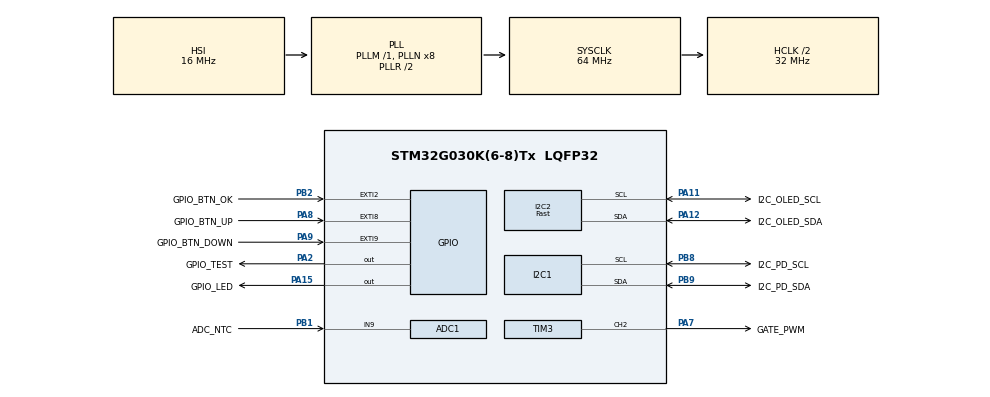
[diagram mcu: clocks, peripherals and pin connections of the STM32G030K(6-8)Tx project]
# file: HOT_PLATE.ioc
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ADC1.Channel-2\#ChannelRegularConversion=ADC_CHANNEL_9
ADC1.ContinuousConvMode=DISABLE
ADC1.DMAContinuousRequests=DISABLE
ADC1.ExternalTrigConv=ADC_EXTERNALTRIG_T1_TRGO2
ADC1.NbrOfConversion=1
ADC1.NbrOfConversionFlag=1
ADC1.Rank-2\#ChannelRegularConversion=1
ADC1.SamplingTime-2\#ChannelRegularConversion=ADC_SAMPLINGTIME_COMMON_1
ADC1.SamplingTimeCommon1=ADC_SAMPLETIME_1CYCLE_5
ADC1.SelectedChannel=ADC_CHANNEL_9
ADC1.TriggerFrequencyMode=ADC_TRIGGER_FREQ_HIGH
ADC1.master=1
I2C1.OwnAddress=0x08
I2C1.Speed=100
I2C1.Timing=0x00707CBB
I2C2.I2C_Speed_Mode=I2C_Fast
I2C2.Timing=0x00300F38
Mcu.Family=STM32G0
Mcu.Name=STM32G030K(6-8)Tx
Mcu.Package=LQFP32
NVIC.ADC1_IRQn=true\:0\:0\:false\:false\:true\:true\:true\:true
NVIC.EXTI2_3_IRQn=true\:0\:0\:false\:false\:true\:true\:true\:true
NVIC.EXTI4_15_IRQn=true\:0\:0\:false\:false\:true\:true\:true\:true
NVIC.TIM17_IRQn=true\:3\:0\:false\:false\:true\:false\:true\:true
NVIC.TimeBase=TIM17_IRQn
NVIC.TimeBaseIP=TIM17
PA11\ [PA9].GPIO_Label=I2C_OLED_SCL
PA11\ [PA9].Mode=I2C
PA11\ [PA9].Signal=I2C2_SCL
PA12\ [PA10].GPIO_Label=I2C_OLED_SDA
PA12\ [PA10].Mode=I2C
PA12\ [PA10].Signal=I2C2_SDA
PA13.Mode=Serial_Wire
PA13.Signal=SYS_SWDIO
PA14-BOOT0.Mode=Serial_Wire
PA14-BOOT0.Signal=SYS_SWCLK
PA15.GPIO_Label=GPIO_LED
PA15.Signal=GPIO_Output
PA2.GPIO_Label=GPIO_TEST
PA2.GPIO_Speed=GPIO_SPEED_FREQ_VERY_HIGH
PA2.Signal=GPIO_Output
PA7.GPIO_Label=GATE_PWM
PA7.Signal=S_TIM3_CH2
PA8.GPIO_Label=GPIO_BTN_UP
PA8.GPIO_ModeDefaultEXTI=GPIO_MODE_IT_FALLING
PA8.Signal=GPXTI8
PA9.GPIO_Label=GPIO_BTN_DOWN
PA9.GPIO_ModeDefaultEXTI=GPIO_MODE_IT_FALLING
PA9.Signal=GPXTI9
PB1.GPIO_Label=ADC_NTC
PB1.Mode=IN9
PB1.Signal=ADC1_IN9
PB2.GPIO_Label=GPIO_BTN_OK
PB2.GPIO_ModeDefaultEXTI=GPIO_MODE_IT_FALLING
PB2.Signal=GPXTI2
PB8.GPIO_Label=I2C_PD_SCL
PB8.GPIO_Pu=GPIO_NOPULL
PB8.GPIO_Speed=GPIO_SPEED_FREQ_LOW
PB8.Mode=I2C
PB8.Signal=I2C1_SCL
PB9.GPIO_Label=I2C_PD_SDA
PB9.GPIO_Pu=GPIO_NOPULL
PB9.GPIO_Speed=GPIO_SPEED_FREQ_LOW
PB9.Mode=I2C
PB9.Signal=I2C1_SDA
ProjectManager.HeapSize=0x200
ProjectManager.StackSize=0x400
ProjectManager.TargetToolchain=STM32CubeIDE
RCC.ADCFreq_Value=64000000
RCC.AHBCLKDivider=RCC_SYSCLK_DIV2
RCC.AHBFreq_Value=32000000
RCC.CortexFreq_Value=32000000
RCC.EXTERNAL_CLOCK_VALUE=12288000
RCC.HCLKFreq_Value=32000000
RCC.HSE_VALUE=8000000
RCC.HSI_VALUE=16000000
RCC.LSE_VALUE=32768
RCC.SYSCLKFreq_VALUE=64000000
RCC.SYSCLKSource=RCC_SYSCLKSOURCE_PLLCLK
RCC.VCOOutputFreq_Value=128000000
SH.S_TIM3_CH2.0=TIM3_CH2,PWM Generation2 CH2
TIM1.Channel-PWM\ Generation2\ No\ Output=TIM_CHANNEL_2
TIM1.Period=1000-1
TIM1.Prescaler=32
TIM1.TIM_MasterOutputTrigger=TIM_TRGO_RESET
TIM1.TIM_MasterOutputTrigger2=TIM_TRGO2_UPDATE
TIM3.Channel-PWM\ Generation2\ CH2=TIM_CHANNEL_2
TIM3.Period=1600-1
TIM3.Prescaler=0
VP_SYS_VS_tim17.Mode=TIM17
VP_TIM1_VS_no_output2.Mode=PWM Generation2 No Output
VP_TIM3_VS_ClockSourceINT.Mode=Internal
board=custom

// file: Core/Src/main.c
/* USER CODE BEGIN Header */
/**
  ******************************************************************************
  * @file           : main.c
  * @brief          : Main program body
  ******************************************************************************
  * @attention
  *
  * Copyright (c) 2024 STMicroelectronics.
  * All rights reserved.
  *
  * This software is licensed under terms that can be found in the LICENSE file
  * in the root directory of this software component.
  * If no LICENSE file comes with this software, it is provided AS-IS.
  *
  ******************************************************************************
  */
/* USER CODE END Header */
#include "main.h"

/* USER CODE BEGIN Includes */
#include "stdio.h"
#include "ssd1306.h"
#include "ssd1306_fonts.h"
#include "FIRFilter.h"
#include "PI.h"
/* USER CODE END Includes */

/* USER CODE BEGIN PTD */
// Enumeration for screen colors
typedef enum {
    BTN_OK,
    BTN_UP,
	BTN_DOWN,
	BTN_NONE
} BTN_STATUS;
/* USER CODE END PTD */

ADC_HandleTypeDef hadc1;

I2C_HandleTypeDef hi2c1;
I2C_HandleTypeDef hi2c2;

TIM_HandleTypeDef htim1;
TIM_HandleTypeDef htim3;

/* USER CODE BEGIN PV */
const int16_t I2C_PD_ADDRESS = (0x08 << 1);
const int16_t I2C_PD_REG_VBUS = 0x0D10;

FIRFilter fir;
PIDREG3 PI_temp;
int16_t state = 0;
BTN_STATUS btn = BTN_NONE;
int16_t voltage;
uint8_t tempVoltage[2];
int16_t duty;
int16_t temp;
char string[9];
int16_t adc_buf[10];
int16_t ref_Temp = 50;
/* USER CODE END PV */

void SystemClock_Config(void);
static void MX_GPIO_Init(void);
static void MX_I2C1_Init(void);
static void MX_I2C2_Init(void);
static void MX_ADC1_Init(void);
static void MX_TIM3_Init(void);
static void MX_TIM1_Init(void);
/* USER CODE BEGIN PFP */
static void ssd1306_WriteScreen(char* str, FontDef Font);
void HAL_GPIO_EXTI_Falling_Callback(uint16_t GPIO_Pin);
void HAL_ADC_ConvCpltCallback(ADC_HandleTypeDef *hadc);
/* USER CODE END PFP */

int main(void)
{

  /* MCU Configuration--------------------------------------------------------*/

  /* Reset of all peripherals, Initializes the Flash interface and the Systick. */
  HAL_Init();

  /* Configure the system clock */
  SystemClock_Config();

  /* Initialize all configured peripherals */
  MX_GPIO_Init();
  MX_I2C1_Init();
  MX_I2C2_Init();
  MX_ADC1_Init();
  MX_TIM3_Init();
  MX_TIM1_Init();
  /* USER CODE BEGIN 2 */
  //INITS
  ssd1306_Init();
  FIRFilter_Init(&fir);
  PID_Init(&PI_temp);

  //ACD calibration and trigger
  while(HAL_ADCEx_Calibration_Start(&hadc1) != HAL_OK);
  HAL_ADC_Start_IT(&hadc1);
  HAL_TIM_PWM_Start(&htim1, TIM_CHANNEL_2);

  /* USER CODE END 2 */

  /* Infinite loop */
  /* USER CODE BEGIN WHILE */
  while (1)
  {
	  //GUI
	  switch(state){
	  case 0:
		  ssd1306_WriteScreen(" HEATER ", Font_11x18);
		  break;
	  case 1:
		  ssd1306_WriteScreen("START", Font_11x18);
		  HAL_TIM_PWM_Stop(&htim3, TIM_CHANNEL_2);
		  break;
	  case 11:
		  //Start PWM
		  TIM3->CCR2 = (TIM_CCR2_CCR2 & (duty - 1));
		  HAL_TIM_PWM_Start(&htim3, TIM_CHANNEL_2);
		  //Refresh Screen
		  sprintf(string, "%5d~C", temp);
		  ssd1306_WriteScreen(string, Font_11x18);

		  break;
	  case 2:
		  ssd1306_WriteScreen("CONFIG", Font_11x18);
		  break;
	  case 21:
		  sprintf(string, "%5d~C", ref_Temp);
		  ssd1306_WriteScreen(string, Font_11x18);
		  break;
	  case 3:
		  ssd1306_WriteScreen("VIEW", Font_11x18);
		  break;
	  case 31:
		  HAL_I2C_Mem_Read(&hi2c1, I2C_PD_ADDRESS, I2C_PD_REG_VBUS, 2, tempVoltage, 2, HAL_MAX_DELAY);
		  voltage = ((tempVoltage[1]<<8)+tempVoltage[0]) * (float)0.1;

		  sprintf(string, "%dV", voltage);
		  ssd1306_WriteScreen(string, Font_11x18);
		  break;
	  default:
		  break;
	  }

	  //NEXT STATE
	  if(btn != BTN_NONE){
		  switch (state){
		  case 0:
			  state = 1;
			  break;
		  case 1:
			  if(btn == BTN_OK){
				  state = 11;
			  } else if (btn == BTN_UP){
				  state = 2;
			  } else if (btn == BTN_DOWN){
				  state = 3;
			  } else {
				  state = 0;
			  }
			  break;
		  case 2:
			  if(btn == BTN_OK){
				  state = 21;
			  } else if (btn == BTN_UP){
				  state = 3;
			  } else if (btn == BTN_DOWN){
				  state = 1;
			  } else {
				  state = 0;
			  }
			  break;
		  case 21:
			  if(btn == BTN_OK){
				  state = 2;
			  } else if (btn == BTN_UP){
				  ref_Temp++;
			  } else if (btn == BTN_DOWN){
				  ref_Temp--;
			  } else {
				  state = 0;
			  }
			  break;
		  case 3:
			  if(btn == BTN_OK){
				  state = 31;
			  } else if (btn == BTN_UP){
				  state = 1;
			  } else if (btn == BTN_DOWN){
				  state = 2;
			  } else {
				  state = 0;
			  }
			  break;
		  case 31:
			  if(btn == BTN_OK){
				  state = 3;
			  } else if (btn == BTN_UP){
				  state = 3;
			  } else if (btn == BTN_DOWN){
				  state = 3;
			  } else {
				  state = 0;
			  }
			  break;
		  default:
			  state = 0;
			  break;
		  }

		  btn = BTN_NONE;
	  }

    /* USER CODE END WHILE */

  }
}

void SystemClock_Config(void)
{
  RCC_OscInitTypeDef RCC_OscInitStruct = {0};
  RCC_ClkInitTypeDef RCC_ClkInitStruct = {0};

  /** Configure the main internal regulator output voltage
  */
  HAL_PWREx_ControlVoltageScaling(PWR_REGULATOR_VOLTAGE_SCALE1);

  /** Initializes the RCC Oscillators according to the specified parameters
  * in the RCC_OscInitTypeDef structure.
  */
  RCC_OscInitStruct.OscillatorType = RCC_OSCILLATORTYPE_HSI;
  RCC_OscInitStruct.HSIState = RCC_HSI_ON;
  RCC_OscInitStruct.HSIDiv = RCC_HSI_DIV1;
  RCC_OscInitStruct.HSICalibrationValue = RCC_HSICALIBRATION_DEFAULT;
  RCC_OscInitStruct.PLL.PLLState = RCC_PLL_ON;
  RCC_OscInitStruct.PLL.PLLSource = RCC_PLLSOURCE_HSI;
  RCC_OscInitStruct.PLL.PLLM = RCC_PLLM_DIV1;
  RCC_OscInitStruct.PLL.PLLN = 8;
  RCC_OscInitStruct.PLL.PLLP = RCC_PLLP_DIV2;
  RCC_OscInitStruct.PLL.PLLR = RCC_PLLR_DIV2;
  if (HAL_RCC_OscConfig(&RCC_OscInitStruct) != HAL_OK)
  {
    Error_Handler();
  }

  /** Initializes the CPU, AHB and APB buses clocks
  */
  RCC_ClkInitStruct.ClockType = RCC_CLOCKTYPE_HCLK|RCC_CLOCKTYPE_SYSCLK
                              |RCC_CLOCKTYPE_PCLK1;
  RCC_ClkInitStruct.SYSCLKSource = RCC_SYSCLKSOURCE_PLLCLK;
  RCC_ClkInitStruct.AHBCLKDivider = RCC_SYSCLK_DIV2;
  RCC_ClkInitStruct.APB1CLKDivider = RCC_HCLK_DIV1;

  if (HAL_RCC_ClockConfig(&RCC_ClkInitStruct, FLASH_LATENCY_1) != HAL_OK)
  {
    Error_Handler();
  }
}

static void MX_ADC1_Init(void)
{

  ADC_ChannelConfTypeDef sConfig = {0};

  /** Configure the global features of the ADC (Clock, Resolution, Data Alignment and number of conversion)
  */
  hadc1.Instance = ADC1;
  hadc1.Init.ClockPrescaler = ADC_CLOCK_SYNC_PCLK_DIV2;
  hadc1.Init.Resolution = ADC_RESOLUTION_12B;
  hadc1.Init.DataAlign = ADC_DATAALIGN_RIGHT;
  hadc1.Init.ScanConvMode = ADC_SCAN_DISABLE;
  hadc1.Init.EOCSelection = ADC_EOC_SINGLE_CONV;
  hadc1.Init.LowPowerAutoWait = DISABLE;
  hadc1.Init.LowPowerAutoPowerOff = DISABLE;
  hadc1.Init.ContinuousConvMode = DISABLE;
  hadc1.Init.NbrOfConversion = 1;
  hadc1.Init.DiscontinuousConvMode = DISABLE;
  hadc1.Init.ExternalTrigConv = ADC_EXTERNALTRIG_T1_TRGO2;
  hadc1.Init.ExternalTrigConvEdge = ADC_EXTERNALTRIGCONVEDGE_RISING;
  hadc1.Init.DMAContinuousRequests = DISABLE;
  hadc1.Init.Overrun = ADC_OVR_DATA_PRESERVED;
  hadc1.Init.SamplingTimeCommon1 = ADC_SAMPLETIME_1CYCLE_5;
  hadc1.Init.SamplingTimeCommon2 = ADC_SAMPLETIME_1CYCLE_5;
  hadc1.Init.OversamplingMode = DISABLE;
  hadc1.Init.TriggerFrequencyMode = ADC_TRIGGER_FREQ_HIGH;
  if (HAL_ADC_Init(&hadc1) != HAL_OK)
  {
    Error_Handler();
  }

  /** Configure Regular Channel
  */
  sConfig.Channel = ADC_CHANNEL_9;
  sConfig.Rank = ADC_REGULAR_RANK_1;
  sConfig.SamplingTime = ADC_SAMPLINGTIME_COMMON_1;
  if (HAL_ADC_ConfigChannel(&hadc1, &sConfig) != HAL_OK)
  {
    Error_Handler();
  }

}

static void MX_I2C1_Init(void)
{

  hi2c1.Instance = I2C1;
  hi2c1.Init.Timing = 0x00707CBB;
  hi2c1.Init.OwnAddress1 = 16;
  hi2c1.Init.AddressingMode = I2C_ADDRESSINGMODE_7BIT;
  hi2c1.Init.DualAddressMode = I2C_DUALADDRESS_DISABLE;
  hi2c1.Init.OwnAddress2 = 0;
  hi2c1.Init.OwnAddress2Masks = I2C_OA2_NOMASK;
  hi2c1.Init.GeneralCallMode = I2C_GENERALCALL_DISABLE;
  hi2c1.Init.NoStretchMode = I2C_NOSTRETCH_DISABLE;
  if (HAL_I2C_Init(&hi2c1) != HAL_OK)
  {
    Error_Handler();
  }

  /** Configure Analogue filter
  */
  if (HAL_I2CEx_ConfigAnalogFilter(&hi2c1, I2C_ANALOGFILTER_ENABLE) != HAL_OK)
  {
    Error_Handler();
  }

  /** Configure Digital filter
  */
  if (HAL_I2CEx_ConfigDigitalFilter(&hi2c1, 0) != HAL_OK)
  {
    Error_Handler();
  }

}

static void MX_I2C2_Init(void)
{

  hi2c2.Instance = I2C2;
  hi2c2.Init.Timing = 0x00300F38;
  hi2c2.Init.OwnAddress1 = 0;
  hi2c2.Init.AddressingMode = I2C_ADDRESSINGMODE_7BIT;
  hi2c2.Init.DualAddressMode = I2C_DUALADDRESS_DISABLE;
  hi2c2.Init.OwnAddress2 = 0;
  hi2c2.Init.OwnAddress2Masks = I2C_OA2_NOMASK;
  hi2c2.Init.GeneralCallMode = I2C_GENERALCALL_DISABLE;
  hi2c2.Init.NoStretchMode = I2C_NOSTRETCH_DISABLE;
  if (HAL_I2C_Init(&hi2c2) != HAL_OK)
  {
    Error_Handler();
  }

  /** Configure Analogue filter
  */
  if (HAL_I2CEx_ConfigAnalogFilter(&hi2c2, I2C_ANALOGFILTER_ENABLE) != HAL_OK)
  {
    Error_Handler();
  }

  /** Configure Digital filter
  */
  if (HAL_I2CEx_ConfigDigitalFilter(&hi2c2, 0) != HAL_OK)
  {
    Error_Handler();
  }

}

static void MX_TIM1_Init(void)
{

  TIM_MasterConfigTypeDef sMasterConfig = {0};
  TIM_OC_InitTypeDef sConfigOC = {0};
  TIM_BreakDeadTimeConfigTypeDef sBreakDeadTimeConfig = {0};

  htim1.Instance = TIM1;
  htim1.Init.Prescaler = 32;
  htim1.Init.CounterMode = TIM_COUNTERMODE_UP;
  htim1.Init.Period = 1000-1;
  htim1.Init.ClockDivision = TIM_CLOCKDIVISION_DIV1;
  htim1.Init.RepetitionCounter = 0;
  htim1.Init.AutoReloadPreload = TIM_AUTORELOAD_PRELOAD_DISABLE;
  if (HAL_TIM_PWM_Init(&htim1) != HAL_OK)
  {
    Error_Handler();
  }
  sMasterConfig.MasterOutputTrigger = TIM_TRGO_RESET;
  sMasterConfig.MasterOutputTrigger2 = TIM_TRGO2_UPDATE;
  sMasterConfig.MasterSlaveMode = TIM_MASTERSLAVEMODE_DISABLE;
  if (HAL_TIMEx_MasterConfigSynchronization(&htim1, &sMasterConfig) != HAL_OK)
  {
    Error_Handler();
  }
  sConfigOC.OCMode = TIM_OCMODE_PWM1;
  sConfigOC.Pulse = 0;
  sConfigOC.OCPolarity = TIM_OCPOLARITY_HIGH;
  sConfigOC.OCNPolarity = TIM_OCNPOLARITY_HIGH;
  sConfigOC.OCFastMode = TIM_OCFAST_DISABLE;
  sConfigOC.OCIdleState = TIM_OCIDLESTATE_RESET;
  sConfigOC.OCNIdleState = TIM_OCNIDLESTATE_RESET;
  if (HAL_TIM_PWM_ConfigChannel(&htim1, &sConfigOC, TIM_CHANNEL_2) != HAL_OK)
  {
    Error_Handler();
  }
  sBreakDeadTimeConfig.OffStateRunMode = TIM_OSSR_DISABLE;
  sBreakDeadTimeConfig.OffStateIDLEMode = TIM_OSSI_DISABLE;
  sBreakDeadTimeConfig.LockLevel = TIM_LOCKLEVEL_OFF;
  sBreakDeadTimeConfig.DeadTime = 0;
  sBreakDeadTimeConfig.BreakState = TIM_BREAK_DISABLE;
  sBreakDeadTimeConfig.BreakPolarity = TIM_BREAKPOLARITY_HIGH;
  sBreakDeadTimeConfig.BreakFilter = 0;
  sBreakDeadTimeConfig.BreakAFMode = TIM_BREAK_AFMODE_INPUT;
  sBreakDeadTimeConfig.Break2State = TIM_BREAK2_DISABLE;
  sBreakDeadTimeConfig.Break2Polarity = TIM_BREAK2POLARITY_HIGH;
  sBreakDeadTimeConfig.Break2Filter = 0;
  sBreakDeadTimeConfig.Break2AFMode = TIM_BREAK_AFMODE_INPUT;
  sBreakDeadTimeConfig.AutomaticOutput = TIM_AUTOMATICOUTPUT_DISABLE;
  if (HAL_TIMEx_ConfigBreakDeadTime(&htim1, &sBreakDeadTimeConfig) != HAL_OK)
  {
    Error_Handler();
  }

}

static void MX_TIM3_Init(void)
{

  TIM_ClockConfigTypeDef sClockSourceConfig = {0};
  TIM_MasterConfigTypeDef sMasterConfig = {0};
  TIM_OC_InitTypeDef sConfigOC = {0};

  htim3.Instance = TIM3;
  htim3.Init.Prescaler = 0;
  htim3.Init.CounterMode = TIM_COUNTERMODE_UP;
  htim3.Init.Period = 1600-1;
  htim3.Init.ClockDivision = TIM_CLOCKDIVISION_DIV1;
  htim3.Init.AutoReloadPreload = TIM_AUTORELOAD_PRELOAD_DISABLE;
  if (HAL_TIM_Base_Init(&htim3) != HAL_OK)
  {
    Error_Handler();
  }
  sClockSourceConfig.ClockSource = TIM_CLOCKSOURCE_INTERNAL;
  if (HAL_TIM_ConfigClockSource(&htim3, &sClockSourceConfig) != HAL_OK)
  {
    Error_Handler();
  }
  if (HAL_TIM_PWM_Init(&htim3) != HAL_OK)
  {
    Error_Handler();
  }
  sMasterConfig.MasterOutputTrigger = TIM_TRGO_RESET;
  sMasterConfig.MasterSlaveMode = TIM_MASTERSLAVEMODE_DISABLE;
  if (HAL_TIMEx_MasterConfigSynchronization(&htim3, &sMasterConfig) != HAL_OK)
  {
    Error_Handler();
  }
  sConfigOC.OCMode = TIM_OCMODE_PWM1;
  sConfigOC.Pulse = 0;
  sConfigOC.OCPolarity = TIM_OCPOLARITY_HIGH;
  sConfigOC.OCFastMode = TIM_OCFAST_DISABLE;
  if (HAL_TIM_PWM_ConfigChannel(&htim3, &sConfigOC, TIM_CHANNEL_2) != HAL_OK)
  {
    Error_Handler();
  }
  HAL_TIM_MspPostInit(&htim3);

}

static void MX_GPIO_Init(void)
{
  GPIO_InitTypeDef GPIO_InitStruct = {0};

  /* GPIO Ports Clock Enable */
  __HAL_RCC_GPIOB_CLK_ENABLE();
  __HAL_RCC_GPIOA_CLK_ENABLE();

  /*Configure GPIO pin Output Level */
  HAL_GPIO_WritePin(GPIOA, GPIO_TEST_Pin|GPIO_LED_Pin, GPIO_PIN_RESET);

  /*Configure GPIO pin : GPIO_TEST_Pin */
  GPIO_InitStruct.Pin = GPIO_TEST_Pin;
  GPIO_InitStruct.Mode = GPIO_MODE_OUTPUT_PP;
  GPIO_InitStruct.Pull = GPIO_NOPULL;
  GPIO_InitStruct.Speed = GPIO_SPEED_FREQ_VERY_HIGH;
  HAL_GPIO_Init(GPIO_TEST_GPIO_Port, &GPIO_InitStruct);

  /*Configure GPIO pin : GPIO_BTN_OK_Pin */
  GPIO_InitStruct.Pin = GPIO_BTN_OK_Pin;
  GPIO_InitStruct.Mode = GPIO_MODE_IT_FALLING;
  GPIO_InitStruct.Pull = GPIO_NOPULL;
  HAL_GPIO_Init(GPIO_BTN_OK_GPIO_Port, &GPIO_InitStruct);

  /*Configure GPIO pins : GPIO_BTN_UP_Pin GPIO_BTN_DOWN_Pin */
  GPIO_InitStruct.Pin = GPIO_BTN_UP_Pin|GPIO_BTN_DOWN_Pin;
  GPIO_InitStruct.Mode = GPIO_MODE_IT_FALLING;
  GPIO_InitStruct.Pull = GPIO_NOPULL;
  HAL_GPIO_Init(GPIOA, &GPIO_InitStruct);

  /*Configure GPIO pin : GPIO_LED_Pin */
  GPIO_InitStruct.Pin = GPIO_LED_Pin;
  GPIO_InitStruct.Mode = GPIO_MODE_OUTPUT_PP;
  GPIO_InitStruct.Pull = GPIO_NOPULL;
  GPIO_InitStruct.Speed = GPIO_SPEED_FREQ_LOW;
  HAL_GPIO_Init(GPIO_LED_GPIO_Port, &GPIO_InitStruct);

  /* EXTI interrupt init*/
  HAL_NVIC_SetPriority(EXTI2_3_IRQn, 0, 0);
  HAL_NVIC_EnableIRQ(EXTI2_3_IRQn);

  HAL_NVIC_SetPriority(EXTI4_15_IRQn, 0, 0);
  HAL_NVIC_EnableIRQ(EXTI4_15_IRQn);

}

/* USER CODE BEGIN 4 */
static void ssd1306_WriteScreen(char* str, FontDef Font){
	  ssd1306_Fill(Black);
	  ssd1306_SetCursor(32, 0);
	  ssd1306_WriteString(str, Font, White);
	  ssd1306_UpdateScreen();
}

void HAL_GPIO_EXTI_Falling_Callback(uint16_t GPIO_Pin) {
	if(GPIO_Pin == GPIO_BTN_OK_Pin) {
		btn = BTN_OK;
	} else if (GPIO_Pin == GPIO_BTN_UP_Pin){
		btn = BTN_UP;
	} else if (GPIO_Pin == GPIO_BTN_DOWN_Pin) {
		btn = BTN_DOWN;
	}
}

void HAL_ADC_ConvCpltCallback(ADC_HandleTypeDef *hadc){
	HAL_GPIO_WritePin(GPIO_TEST_GPIO_Port, GPIO_TEST_Pin, GPIO_PIN_SET);
	int16_t adcValue = HAL_ADC_GetValue(hadc);
	temp = FIRFilter_Update(&fir, adcValue);

	PI_temp.Ref = ref_Temp;
	PI_temp.Fdb = temp;
//	PID_MACRO (PI_temp);
	duty = PID_Update(&PI_temp);
	HAL_GPIO_WritePin(GPIO_TEST_GPIO_Port, GPIO_TEST_Pin, GPIO_PIN_RESET);
}

/* USER CODE END 4 */

void HAL_TIM_PeriodElapsedCallback(TIM_HandleTypeDef *htim)
{
  if (htim->Instance == TIM17) {
    HAL_IncTick();
  }
}

void Error_Handler(void)
{
  __disable_irq();
  while (1)
  {
  }
}
